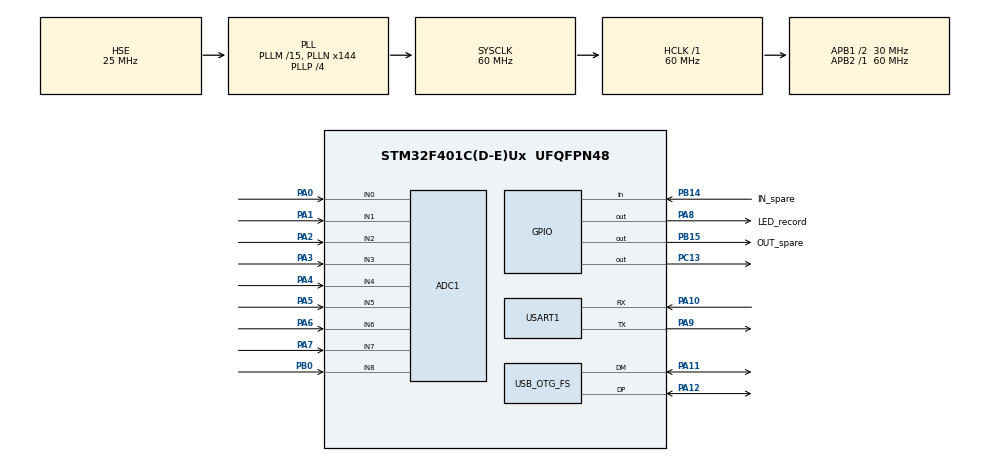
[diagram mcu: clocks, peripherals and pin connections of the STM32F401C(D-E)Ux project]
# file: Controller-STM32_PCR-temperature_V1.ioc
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ADC1.Channel-1\#ChannelRegularConversion=ADC_CHANNEL_0
ADC1.Channel-2\#ChannelRegularConversion=ADC_CHANNEL_1
ADC1.Channel-3\#ChannelRegularConversion=ADC_CHANNEL_2
ADC1.Channel-4\#ChannelRegularConversion=ADC_CHANNEL_3
ADC1.Channel-5\#ChannelRegularConversion=ADC_CHANNEL_4
ADC1.Channel-6\#ChannelRegularConversion=ADC_CHANNEL_5
ADC1.Channel-7\#ChannelRegularConversion=ADC_CHANNEL_6
ADC1.Channel-8\#ChannelRegularConversion=ADC_CHANNEL_7
ADC1.Channel-9\#ChannelRegularConversion=ADC_CHANNEL_8
ADC1.InjNumberOfConversion=0
ADC1.NbrOfConversion=9
ADC1.NbrOfConversionFlag=1
ADC1.Rank-1\#ChannelRegularConversion=1
ADC1.Rank-2\#ChannelRegularConversion=2
ADC1.Rank-3\#ChannelRegularConversion=3
ADC1.Rank-4\#ChannelRegularConversion=4
ADC1.Rank-5\#ChannelRegularConversion=5
ADC1.Rank-6\#ChannelRegularConversion=6
ADC1.Rank-7\#ChannelRegularConversion=7
ADC1.Rank-8\#ChannelRegularConversion=8
ADC1.Rank-9\#ChannelRegularConversion=9
ADC1.SamplingTime-1\#ChannelRegularConversion=ADC_SAMPLETIME_15CYCLES
ADC1.SamplingTime-2\#ChannelRegularConversion=ADC_SAMPLETIME_15CYCLES
ADC1.SamplingTime-3\#ChannelRegularConversion=ADC_SAMPLETIME_15CYCLES
ADC1.SamplingTime-4\#ChannelRegularConversion=ADC_SAMPLETIME_15CYCLES
ADC1.SamplingTime-5\#ChannelRegularConversion=ADC_SAMPLETIME_15CYCLES
ADC1.SamplingTime-6\#ChannelRegularConversion=ADC_SAMPLETIME_15CYCLES
ADC1.SamplingTime-7\#ChannelRegularConversion=ADC_SAMPLETIME_15CYCLES
ADC1.SamplingTime-8\#ChannelRegularConversion=ADC_SAMPLETIME_15CYCLES
ADC1.SamplingTime-9\#ChannelRegularConversion=ADC_SAMPLETIME_15CYCLES
ADC1.ScanConvMode=ENABLE
ADC1.master=1
Mcu.Family=STM32F4
Mcu.Name=STM32F401C(D-E)Ux
Mcu.Package=UFQFPN48
NVIC.OTG_FS_IRQn=true\:0\:0\:false\:false\:true\:false\:true\:true
NVIC.PriorityGroup=NVIC_PRIORITYGROUP_4
PA0-WKUP.Signal=SharedAnalog_PA0
PA1.Signal=SharedAnalog_PA1
PA10.Mode=Asynchronous
PA10.Signal=USART1_RX
PA11.Mode=Device_Only
PA11.Signal=USB_OTG_FS_DM
PA12.Mode=Device_Only
PA12.Signal=USB_OTG_FS_DP
PA13.Mode=Serial_Wire
PA13.Signal=SYS_JTMS-SWDIO
PA14.Mode=Serial_Wire
PA14.Signal=SYS_JTCK-SWCLK
PA2.Signal=SharedAnalog_PA2
PA3.Signal=SharedAnalog_PA3
PA4.Signal=SharedAnalog_PA4
PA5.Signal=SharedAnalog_PA5
PA6.Signal=SharedAnalog_PA6
PA7.Signal=SharedAnalog_PA7
PA8.GPIO_Label=LED_record
PA8.Signal=GPIO_Output
PA9.Mode=Asynchronous
PA9.Signal=USART1_TX
PB0.Signal=SharedAnalog_PB0
PB14.GPIO_Label=IN_spare
PB14.GPIO_PuPd=GPIO_PULLUP
PB14.Signal=GPIO_Input
PB15.GPIO_Label=OUT_spare
PB15.Signal=GPIO_Output
PC13-ANTI_TAMP.Signal=GPIO_Output
PH0\ -\ OSC_IN.Mode=HSE-External-Oscillator
PH0\ -\ OSC_IN.Signal=RCC_OSC_IN
PH1\ -\ OSC_OUT.Mode=HSE-External-Oscillator
PH1\ -\ OSC_OUT.Signal=RCC_OSC_OUT
ProjectManager.HeapSize=0x200
ProjectManager.StackSize=0x400
ProjectManager.TargetToolchain=CMake
RCC.48MHZClocksFreq_Value=48000000
RCC.AHBFreq_Value=60000000
RCC.APB1CLKDivider=RCC_HCLK_DIV2
RCC.APB1Freq_Value=30000000
RCC.APB1TimFreq_Value=60000000
RCC.APB2Freq_Value=60000000
RCC.APB2TimFreq_Value=60000000
RCC.CortexFreq_Value=60000000
RCC.HCLKFreq_Value=60000000
RCC.HSE_VALUE=25000000
RCC.HSI_VALUE=16000000
RCC.LSE_VALUE=32768
RCC.PLLM=15
RCC.PLLN=144
RCC.PLLP=RCC_PLLP_DIV4
RCC.PLLQ=5
RCC.SYSCLKFreq_VALUE=60000000
RCC.SYSCLKSource=RCC_SYSCLKSOURCE_PLLCLK
RCC.VCOOutputFreq_Value=240000000
SH.SharedAnalog_PA0.0=GPIO_Analog
SH.SharedAnalog_PA0.1=ADC1_IN0,IN0
SH.SharedAnalog_PA1.0=GPIO_Analog
SH.SharedAnalog_PA1.1=ADC1_IN1,IN1
SH.SharedAnalog_PA2.0=GPIO_Analog
SH.SharedAnalog_PA2.1=ADC1_IN2,IN2
SH.SharedAnalog_PA3.0=GPIO_Analog
SH.SharedAnalog_PA3.1=ADC1_IN3,IN3
SH.SharedAnalog_PA4.0=GPIO_Analog
SH.SharedAnalog_PA4.1=ADC1_IN4,IN4
SH.SharedAnalog_PA5.0=GPIO_Analog
SH.SharedAnalog_PA5.1=ADC1_IN5,IN5
SH.SharedAnalog_PA6.0=GPIO_Analog
SH.SharedAnalog_PA6.1=ADC1_IN6,IN6
SH.SharedAnalog_PA7.0=GPIO_Analog
SH.SharedAnalog_PA7.1=ADC1_IN7,IN7
SH.SharedAnalog_PB0.0=GPIO_Analog
SH.SharedAnalog_PB0.1=ADC1_IN8,IN8
USART1.VirtualMode=VM_ASYNC
USB_DEVICE.CLASS_NAME_FS=CDC
USB_DEVICE.VirtualMode-CDC_FS=Cdc
USB_DEVICE.VirtualModeFS=Cdc_FS
USB_OTG_FS.VirtualMode=Device_Only
VP_USB_DEVICE_VS_USB_DEVICE_CDC_FS.Mode=CDC_FS
board=custom

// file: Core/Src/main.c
/* USER CODE BEGIN Header */
/**
  ******************************************************************************
  * @file           : main.c
  * @brief          : Main program body
  ******************************************************************************
  * @attention
  *
  * Copyright (c) 2026 STMicroelectronics.
  * All rights reserved.
  *
  * This software is licensed under terms that can be found in the LICENSE file
  * in the root directory of this software component.
  * If no LICENSE file comes with this software, it is provided AS-IS.
  *
  ******************************************************************************
  */
/* USER CODE END Header */
#include "main.h"
#include "usb_device.h"

/* USER CODE BEGIN Includes */
#include <stdio.h>
#include <math.h>
#include <string.h>
#include "usbd_cdc_if.h"

/* USER CODE END Includes */

ADC_HandleTypeDef hadc1;

UART_HandleTypeDef huart1;

/* USER CODE BEGIN PV */
#define VREF        3.3f
#define ADC_MAX     4095.0f
#define R_FIXED     10000.0f
#define R0          10000.0f
#define T0          298.15f
#define BETA        3976.0f

char uart_buffer[256];
volatile uint8_t usb_status = 255;

volatile uint32_t adc_ntc1 = 0;
volatile uint32_t adc_ntc2 = 0;
volatile uint32_t adc_ntc3 = 0;
volatile uint32_t adc_ntc4 = 0;
volatile uint32_t adc_ntc5 = 0;
volatile uint32_t adc_ntc6 = 0;
volatile uint32_t adc_ntc7 = 0;
volatile uint32_t adc_ntc8 = 0;
volatile uint32_t adc_ntc9 = 0;

volatile float temperature_ntc1 = 0.0f;
volatile float temperature_ntc2 = 0.0f;
volatile float temperature_ntc3 = 0.0f;
volatile float temperature_ntc4 = 0.0f;
volatile float temperature_ntc5 = 0.0f;
volatile float temperature_ntc6 = 0.0f;
volatile float temperature_ntc7 = 0.0f;
volatile float temperature_ntc8 = 0.0f;
volatile float temperature_ntc9 = 0.0f;

extern volatile uint8_t cdc_recording_command;

volatile uint8_t recording_active = 0;

uint32_t last_sample_tick = 0;
uint32_t led_tick = 0;

uint8_t led_phase = 0;

/* USER CODE END PV */

void SystemClock_Config(void);
static void MX_GPIO_Init(void);
static void MX_ADC1_Init(void);
static void MX_USART1_UART_Init(void);

/* USER CODE BEGIN 0 */
float Read_NTC_Temperature(
    uint32_t channel,
    volatile uint32_t *adc_result)
{
    ADC_ChannelConfTypeDef sConfig = {0};

    uint32_t adc_value;
    float voltage;
    float resistance;
    float temperature_kelvin;
    float temperature_celsius;

    /* Pilih kanal ADC yang akan dibaca */
    sConfig.Channel = channel;
    sConfig.Rank = 1;
    sConfig.SamplingTime = ADC_SAMPLETIME_84CYCLES;

    if (HAL_ADC_ConfigChannel(&hadc1, &sConfig) != HAL_OK)
    {
        return -999.0f;
    }

    if (HAL_ADC_Start(&hadc1) != HAL_OK)
    {
        return -999.0f;
    }

    if (HAL_ADC_PollForConversion(&hadc1, 100) != HAL_OK)
    {
        HAL_ADC_Stop(&hadc1);
        return -999.0f;
    }

    adc_value = HAL_ADC_GetValue(&hadc1);
    HAL_ADC_Stop(&hadc1);

    *adc_result = adc_value;

    /* Periksa batas pembacaan ADC */
    if (adc_value == 0 || adc_value >= 4095)
    {
        return -999.0f;
    }

    /* Konversi ADC menjadi tegangan */
    voltage = ((float)adc_value / ADC_MAX) * VREF;

    /* NTC ke 3.3 V, resistor tetap ke GND */
    resistance = R_FIXED * (VREF / voltage - 1.0f);

    if (resistance <= 0.0f)
    {
        return -999.0f;
    }

    /* Persamaan Beta NTC */
    temperature_kelvin =
        1.0f / ((1.0f / T0) +
        (logf(resistance / R0) / BETA));

    temperature_celsius = temperature_kelvin - 273.15f;

    return temperature_celsius;
}

void Process_USB_Command(void)
{
    uint8_t command = cdc_recording_command;

    if (command == 0)
    {
        return;
    }

    cdc_recording_command = 0;

    if (command == 1)
    {
        recording_active = 1;
    }
    else if (command == 2)
    {
        recording_active = 0;
    }
}

void Update_Record_LED(void)
{
    uint32_t current_tick = HAL_GetTick();

    /* LED menyala terus saat recording */
    if (recording_active)
    {
        HAL_GPIO_WritePin(
            LED_record_GPIO_Port,
            LED_record_Pin,
            GPIO_PIN_SET
        );

        led_phase = 0;
        led_tick = current_tick;

        return;
    }

    /* Double blink saat standby */
    switch (led_phase)
    {
        case 0:
            HAL_GPIO_WritePin(
                LED_record_GPIO_Port,
                LED_record_Pin,
                GPIO_PIN_SET
            );

            if (current_tick - led_tick >= 150)
            {
                led_phase = 1;
                led_tick = current_tick;
            }
            break;

        case 1:
            HAL_GPIO_WritePin(
                LED_record_GPIO_Port,
                LED_record_Pin,
                GPIO_PIN_RESET
            );

            if (current_tick - led_tick >= 150)
            {
                led_phase = 2;
                led_tick = current_tick;
            }
            break;

        case 2:
            HAL_GPIO_WritePin(
                LED_record_GPIO_Port,
                LED_record_Pin,
                GPIO_PIN_SET
            );

            if (current_tick - led_tick >= 150)
            {
                led_phase = 3;
                led_tick = current_tick;
            }
            break;

        case 3:
            HAL_GPIO_WritePin(
                LED_record_GPIO_Port,
                LED_record_Pin,
                GPIO_PIN_RESET
            );

            if (current_tick - led_tick >= 1550)
            {
                led_phase = 0;
                led_tick = current_tick;
            }
            break;
    }
}

/* USER CODE END 0 */

int main(void)
{

  /* MCU Configuration--------------------------------------------------------*/

  /* Reset of all peripherals, Initializes the Flash interface and the Systick. */
  HAL_Init();

  /* Configure the system clock */
  SystemClock_Config();

  /* Initialize all configured peripherals */
  MX_GPIO_Init();
  MX_ADC1_Init();
  MX_USART1_UART_Init();
  MX_USB_DEVICE_Init();

  /* Infinite loop */
  while (1)
  {

    /* USER CODE BEGIN 3 */

    /* Proses perintah USB CDC */
    Process_USB_Command();

    /* Update LED indikator PA8 */
    Update_Record_LED();

    /* Sampling setiap 1 detik */
    if (HAL_GetTick() - last_sample_tick >= 1000)
    {
        last_sample_tick = HAL_GetTick();

        /* Baca 9 sensor NTC */
        temperature_ntc1 = Read_NTC_Temperature(ADC_CHANNEL_0, &adc_ntc1);
        temperature_ntc2 = Read_NTC_Temperature(ADC_CHANNEL_1, &adc_ntc2);
        temperature_ntc3 = Read_NTC_Temperature(ADC_CHANNEL_2, &adc_ntc3);
        temperature_ntc4 = Read_NTC_Temperature(ADC_CHANNEL_3, &adc_ntc4);
        temperature_ntc5 = Read_NTC_Temperature(ADC_CHANNEL_4, &adc_ntc5);
        temperature_ntc6 = Read_NTC_Temperature(ADC_CHANNEL_5, &adc_ntc6);
        temperature_ntc7 = Read_NTC_Temperature(ADC_CHANNEL_6, &adc_ntc7);
        temperature_ntc8 = Read_NTC_Temperature(ADC_CHANNEL_7, &adc_ntc8);
        temperature_ntc9 = Read_NTC_Temperature(ADC_CHANNEL_8, &adc_ntc9);

        /* Format data */
        snprintf(
            uart_buffer,
            sizeof(uart_buffer),
            "T1:%.2f ADC:%lu | T2:%.2f ADC:%lu | "
            "T3:%.2f ADC:%lu | T4:%.2f ADC:%lu\r\n"
            "T5:%.2f ADC:%lu | T6:%.2f ADC:%lu | "
            "T7:%.2f ADC:%lu | T8:%.2f ADC:%lu\r\n"
            "T9:%.2f ADC:%lu\r\n",

            temperature_ntc1, (unsigned long)adc_ntc1,
            temperature_ntc2, (unsigned long)adc_ntc2,
            temperature_ntc3, (unsigned long)adc_ntc3,
            temperature_ntc4, (unsigned long)adc_ntc4,
            temperature_ntc5, (unsigned long)adc_ntc5,
            temperature_ntc6, (unsigned long)adc_ntc6,
            temperature_ntc7, (unsigned long)adc_ntc7,
            temperature_ntc8, (unsigned long)adc_ntc8,
            temperature_ntc9, (unsigned long)adc_ntc9
        );

        /* Kirim melalui USART1 */
        HAL_UART_Transmit(
            &huart1,
            (uint8_t *)uart_buffer,
            (uint16_t)strlen(uart_buffer),
            HAL_MAX_DELAY
        );

        /* Kirim melalui USB CDC */
        usb_status = CDC_Transmit_FS(
            (uint8_t *)uart_buffer,
            (uint16_t)strlen(uart_buffer)
        );

        HAL_GPIO_TogglePin(GPIOC, GPIO_PIN_13);
    }
  }

  /* USER CODE END 3 */
}

void SystemClock_Config(void)
{
  RCC_OscInitTypeDef RCC_OscInitStruct = {0};
  RCC_ClkInitTypeDef RCC_ClkInitStruct = {0};

  /** Configure the main internal regulator output voltage
  */
  __HAL_RCC_PWR_CLK_ENABLE();
  __HAL_PWR_VOLTAGESCALING_CONFIG(PWR_REGULATOR_VOLTAGE_SCALE2);

  /** Initializes the RCC Oscillators according to the specified parameters
  * in the RCC_OscInitTypeDef structure.
  */
  RCC_OscInitStruct.OscillatorType = RCC_OSCILLATORTYPE_HSE;
  RCC_OscInitStruct.HSEState = RCC_HSE_ON;
  RCC_OscInitStruct.PLL.PLLState = RCC_PLL_ON;
  RCC_OscInitStruct.PLL.PLLSource = RCC_PLLSOURCE_HSE;
  RCC_OscInitStruct.PLL.PLLM = 15;
  RCC_OscInitStruct.PLL.PLLN = 144;
  RCC_OscInitStruct.PLL.PLLP = RCC_PLLP_DIV4;
  RCC_OscInitStruct.PLL.PLLQ = 5;
  if (HAL_RCC_OscConfig(&RCC_OscInitStruct) != HAL_OK)
  {
    Error_Handler();
  }

  /** Initializes the CPU, AHB and APB buses clocks
  */
  RCC_ClkInitStruct.ClockType = RCC_CLOCKTYPE_HCLK|RCC_CLOCKTYPE_SYSCLK
                              |RCC_CLOCKTYPE_PCLK1|RCC_CLOCKTYPE_PCLK2;
  RCC_ClkInitStruct.SYSCLKSource = RCC_SYSCLKSOURCE_PLLCLK;
  RCC_ClkInitStruct.AHBCLKDivider = RCC_SYSCLK_DIV1;
  RCC_ClkInitStruct.APB1CLKDivider = RCC_HCLK_DIV2;
  RCC_ClkInitStruct.APB2CLKDivider = RCC_HCLK_DIV1;

  if (HAL_RCC_ClockConfig(&RCC_ClkInitStruct, FLASH_LATENCY_1) != HAL_OK)
  {
    Error_Handler();
  }
}

static void MX_ADC1_Init(void)
{

  ADC_ChannelConfTypeDef sConfig = {0};

  /** Configure the global features of the ADC (Clock, Resolution, Data Alignment and number of conversion)
  */
  hadc1.Instance = ADC1;
  hadc1.Init.ClockPrescaler = ADC_CLOCK_SYNC_PCLK_DIV2;
  hadc1.Init.Resolution = ADC_RESOLUTION_12B;
  hadc1.Init.ScanConvMode = ENABLE;
  hadc1.Init.ContinuousConvMode = DISABLE;
  hadc1.Init.DiscontinuousConvMode = DISABLE;
  hadc1.Init.ExternalTrigConvEdge = ADC_EXTERNALTRIGCONVEDGE_NONE;
  hadc1.Init.ExternalTrigConv = ADC_SOFTWARE_START;
  hadc1.Init.DataAlign = ADC_DATAALIGN_RIGHT;
  hadc1.Init.NbrOfConversion = 9;
  hadc1.Init.DMAContinuousRequests = DISABLE;
  hadc1.Init.EOCSelection = ADC_EOC_SINGLE_CONV;
  if (HAL_ADC_Init(&hadc1) != HAL_OK)
  {
    Error_Handler();
  }

  /** Configure for the selected ADC regular channel its corresponding rank in the sequencer and its sample time.
  */
  sConfig.Channel = ADC_CHANNEL_0;
  sConfig.Rank = 1;
  sConfig.SamplingTime = ADC_SAMPLETIME_15CYCLES;
  if (HAL_ADC_ConfigChannel(&hadc1, &sConfig) != HAL_OK)
  {
    Error_Handler();
  }

  /** Configure for the selected ADC regular channel its corresponding rank in the sequencer and its sample time.
  */
  sConfig.Channel = ADC_CHANNEL_1;
  sConfig.Rank = 2;
  if (HAL_ADC_ConfigChannel(&hadc1, &sConfig) != HAL_OK)
  {
    Error_Handler();
  }

  /** Configure for the selected ADC regular channel its corresponding rank in the sequencer and its sample time.
  */
  sConfig.Channel = ADC_CHANNEL_2;
  sConfig.Rank = 3;
  if (HAL_ADC_ConfigChannel(&hadc1, &sConfig) != HAL_OK)
  {
    Error_Handler();
  }

  /** Configure for the selected ADC regular channel its corresponding rank in the sequencer and its sample time.
  */
  sConfig.Channel = ADC_CHANNEL_3;
  sConfig.Rank = 4;
  if (HAL_ADC_ConfigChannel(&hadc1, &sConfig) != HAL_OK)
  {
    Error_Handler();
  }

  /** Configure for the selected ADC regular channel its corresponding rank in the sequencer and its sample time.
  */
  sConfig.Channel = ADC_CHANNEL_4;
  sConfig.Rank = 5;
  if (HAL_ADC_ConfigChannel(&hadc1, &sConfig) != HAL_OK)
  {
    Error_Handler();
  }

  /** Configure for the selected ADC regular channel its corresponding rank in the sequencer and its sample time.
  */
  sConfig.Channel = ADC_CHANNEL_5;
  sConfig.Rank = 6;
  if (HAL_ADC_ConfigChannel(&hadc1, &sConfig) != HAL_OK)
  {
    Error_Handler();
  }

  /** Configure for the selected ADC regular channel its corresponding rank in the sequencer and its sample time.
  */
  sConfig.Channel = ADC_CHANNEL_6;
  sConfig.Rank = 7;
  if (HAL_ADC_ConfigChannel(&hadc1, &sConfig) != HAL_OK)
  {
    Error_Handler();
  }

  /** Configure for the selected ADC regular channel its corresponding rank in the sequencer and its sample time.
  */
  sConfig.Channel = ADC_CHANNEL_7;
  sConfig.Rank = 8;
  if (HAL_ADC_ConfigChannel(&hadc1, &sConfig) != HAL_OK)
  {
    Error_Handler();
  }

  /** Configure for the selected ADC regular channel its corresponding rank in the sequencer and its sample time.
  */
  sConfig.Channel = ADC_CHANNEL_8;
  sConfig.Rank = 9;
  if (HAL_ADC_ConfigChannel(&hadc1, &sConfig) != HAL_OK)
  {
    Error_Handler();
  }

}

static void MX_USART1_UART_Init(void)
{

  huart1.Instance = USART1;
  huart1.Init.BaudRate = 115200;
  huart1.Init.WordLength = UART_WORDLENGTH_8B;
  huart1.Init.StopBits = UART_STOPBITS_1;
  huart1.Init.Parity = UART_PARITY_NONE;
  huart1.Init.Mode = UART_MODE_TX_RX;
  huart1.Init.HwFlowCtl = UART_HWCONTROL_NONE;
  huart1.Init.OverSampling = UART_OVERSAMPLING_16;
  if (HAL_UART_Init(&huart1) != HAL_OK)
  {
    Error_Handler();
  }

}

static void MX_GPIO_Init(void)
{
  GPIO_InitTypeDef GPIO_InitStruct = {0};

  /* GPIO Ports Clock Enable */
  __HAL_RCC_GPIOC_CLK_ENABLE();
  __HAL_RCC_GPIOH_CLK_ENABLE();
  __HAL_RCC_GPIOA_CLK_ENABLE();
  __HAL_RCC_GPIOB_CLK_ENABLE();

  /*Configure GPIO pin Output Level */
  HAL_GPIO_WritePin(GPIOC, GPIO_PIN_13, GPIO_PIN_RESET);

  /*Configure GPIO pin Output Level */
  HAL_GPIO_WritePin(OUT_spare_GPIO_Port, OUT_spare_Pin, GPIO_PIN_RESET);

  /*Configure GPIO pin Output Level */
  HAL_GPIO_WritePin(LED_record_GPIO_Port, LED_record_Pin, GPIO_PIN_RESET);

  /*Configure GPIO pin : PC13 */
  GPIO_InitStruct.Pin = GPIO_PIN_13;
  GPIO_InitStruct.Mode = GPIO_MODE_OUTPUT_PP;
  GPIO_InitStruct.Pull = GPIO_NOPULL;
  GPIO_InitStruct.Speed = GPIO_SPEED_FREQ_LOW;
  HAL_GPIO_Init(GPIOC, &GPIO_InitStruct);

  /*Configure GPIO pin : IN_spare_Pin */
  GPIO_InitStruct.Pin = IN_spare_Pin;
  GPIO_InitStruct.Mode = GPIO_MODE_INPUT;
  GPIO_InitStruct.Pull = GPIO_PULLUP;
  HAL_GPIO_Init(IN_spare_GPIO_Port, &GPIO_InitStruct);

  /*Configure GPIO pin : OUT_spare_Pin */
  GPIO_InitStruct.Pin = OUT_spare_Pin;
  GPIO_InitStruct.Mode = GPIO_MODE_OUTPUT_PP;
  GPIO_InitStruct.Pull = GPIO_NOPULL;
  GPIO_InitStruct.Speed = GPIO_SPEED_FREQ_LOW;
  HAL_GPIO_Init(OUT_spare_GPIO_Port, &GPIO_InitStruct);

  /*Configure GPIO pin : LED_record_Pin */
  GPIO_InitStruct.Pin = LED_record_Pin;
  GPIO_InitStruct.Mode = GPIO_MODE_OUTPUT_PP;
  GPIO_InitStruct.Pull = GPIO_NOPULL;
  GPIO_InitStruct.Speed = GPIO_SPEED_FREQ_LOW;
  HAL_GPIO_Init(LED_record_GPIO_Port, &GPIO_InitStruct);

  /* USER CODE BEGIN MX_GPIO_Init_2 */

  /* Konfigurasi pin ADC untuk 8 NTC */
  GPIO_InitStruct.Pin = GPIO_PIN_0 | GPIO_PIN_1 |
                        GPIO_PIN_2 | GPIO_PIN_3 |
                        GPIO_PIN_4 | GPIO_PIN_5 |
                        GPIO_PIN_6 | GPIO_PIN_7;

  GPIO_InitStruct.Mode = GPIO_MODE_ANALOG;
  GPIO_InitStruct.Pull = GPIO_NOPULL;
  HAL_GPIO_Init(GPIOA, &GPIO_InitStruct);

  /* Konfigurasi PB0 untuk NTC ke-9 (Ambient) */
  GPIO_InitStruct.Pin = GPIO_PIN_0;
  GPIO_InitStruct.Mode = GPIO_MODE_ANALOG;
  GPIO_InitStruct.Pull = GPIO_NOPULL;
  HAL_GPIO_Init(GPIOB, &GPIO_InitStruct);

  /* USER CODE END MX_GPIO_Init_2 */
}

void Error_Handler(void)
{
  __disable_irq();
  while (1)
  {
  }
}
